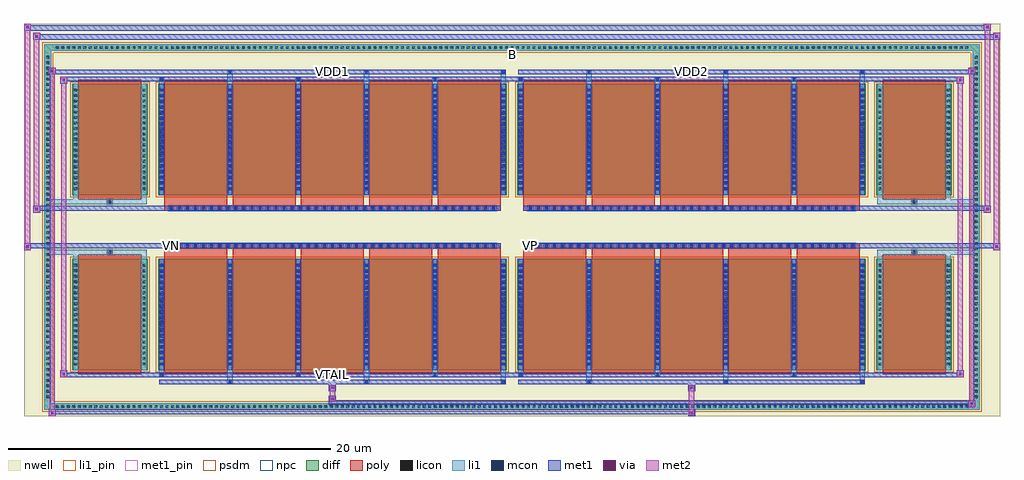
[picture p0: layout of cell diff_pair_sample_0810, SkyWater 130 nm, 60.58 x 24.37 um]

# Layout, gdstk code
import gdstk
lib = gdstk.Library(unit=1e-6, precision=5e-09)
def R(c, l, rs):  # rectangles x0, y0, x1, y1
    for r in rs: c.add(gdstk.rectangle(r[:2], r[2:], *l))
def A(c, l, x, y, w, h, nx, ny, dx, dy):  # array of equal rectangles
    R(c, l, [(x+i*dx, y+j*dy, x+i*dx+w, y+j*dy+h) for i in range(nx) for j in range(ny)])
def P(c, l, *ps):  # polygons
    for p in ps: c.add(gdstk.Polygon(p, *l))
nwell = (64, 20)
diff = (65, 20)
poly = (66, 20)
licon = (66, 44)
li1_pin = (67, 16)
li1 = (67, 20)
mcon = (67, 44)
met1_pin = (68, 16)
met1 = (68, 20)
via = (68, 44)
met2 = (69, 20)
psdm = (94, 20)
npc = (95, 20)

diff_pair_sample_0810 = lib.new_cell('diff_pair_sample_0810')
R(diff_pair_sample_0810, nwell, [(-30.29,-11.75,30.29,12.62), (-27.61,-9.94,-0.01,-0.8), (0.01,-9.94,27.61,-0.8), (-27.61,0.8,-0.01,9.94), (0.01,0.8,27.61,9.94)])
A(diff_pair_sample_0810, diff, -28.425, -11.35, 0.41, 0.41, 167, 2, 0.34, 22.29)
A(diff_pair_sample_0810, diff, -29.02, -10.745, 0.41, 0.41, 1, 63, 0, 0.34)
A(diff_pair_sample_0810, diff, 28.61, -10.745, 0.41, 0.41, 1, 63, 0, 0.34)
R(diff_pair_sample_0810, diff, [(-28.425,-11.35,28.425,-10.94), (-29.02,-10.745,-28.61,10.745), (28.61,-10.745,29.02,10.745), (-27.3,-8.895,-22.61,-1.985), (-21.97,-8.895,-0.32,-1.985), (0.32,-8.895,21.97,-1.985), (22.61,-8.895,27.3,-1.985), (-27.3,1.985,-22.61,8.895), (-21.97,1.985,-0.32,8.895), (0.32,1.985,21.97,8.895), (22.61,1.985,27.3,8.895), (-28.425,10.94,28.425,11.35)])
P(diff_pair_sample_0810, diff, [(29.02,11.35),(-29.02,11.35),(-29.02,-10.94),(-28.61,-10.94),(-28.61,10.94),(28.61,10.94),(28.61,-10.94),(-28.61,-10.94),(-29.02,-10.94),(-29.02,-11.35),(29.02,-11.35)])
A(diff_pair_sample_0810, poly, -21.58, -9.145, 3.91, 7.41, 5, 2, 4.24, 10.88)
A(diff_pair_sample_0810, poly, 0.71, -9.145, 3.91, 7.41, 5, 2, 4.24, 10.88)
A(diff_pair_sample_0810, poly, -21.58, -1.735, 3.91, 0.405, 5, 2, 4.24, 3.065)
A(diff_pair_sample_0810, poly, 0.71, -1.735, 3.91, 0.405, 5, 2, 4.24, 3.065)
A(diff_pair_sample_0810, poly, -21.31, -1.33, 0.33, 0.33, 41, 2, 0.5, 2.33)
A(diff_pair_sample_0810, poly, 0.98, -1.33, 0.33, 0.33, 41, 2, 0.5, 2.33)
R(diff_pair_sample_0810, poly, [(-26.91,-9.145,-23,-1.735), (23,-9.145,26.91,-1.735), (-25.12,-1.735,-24.79,-1.405), (-25.12,-1.735,-24.79,-1.405), (24.79,-1.735,25.12,-1.405), (24.79,-1.735,25.12,-1.405), (-21.58,-1.33,-0.71,-1), (0.71,-1.33,21.58,-1), (-21.58,1,-0.71,1.33), (0.71,1,21.58,1.33), (-25.12,1.405,-24.79,1.735), (-25.12,1.405,-24.79,1.735), (24.79,1.405,25.12,1.735), (24.79,1.405,25.12,1.735), (-26.91,1.735,-23,9.145), (23,1.735,26.91,9.145)])
A(diff_pair_sample_0810, licon, -28.305, -11.23, 0.17, 0.17, 167, 2, 0.34, 22.29)
A(diff_pair_sample_0810, licon, -28.9, -10.625, 0.17, 0.17, 1, 63, 0, 0.34)
A(diff_pair_sample_0810, licon, 28.73, -10.625, 0.17, 0.17, 1, 63, 0, 0.34)
A(diff_pair_sample_0810, licon, -27.16, -8.585, 0.17, 0.17, 1, 19, 0, 0.34)
A(diff_pair_sample_0810, licon, -22.92, -8.585, 0.17, 0.17, 1, 19, 0, 0.34)
A(diff_pair_sample_0810, licon, -21.83, -8.585, 0.17, 0.17, 6, 19, 4.24, 0.34)
A(diff_pair_sample_0810, licon, 0.46, -8.585, 0.17, 0.17, 6, 19, 4.24, 0.34)
A(diff_pair_sample_0810, licon, 22.75, -8.585, 0.17, 0.17, 1, 19, 0, 0.34)
A(diff_pair_sample_0810, licon, 26.99, -8.585, 0.17, 0.17, 1, 19, 0, 0.34)
A(diff_pair_sample_0810, licon, -21.23, -1.25, 0.17, 0.17, 41, 2, 0.5, 2.33)
A(diff_pair_sample_0810, licon, 1.06, -1.25, 0.17, 0.17, 41, 2, 0.5, 2.33)
A(diff_pair_sample_0810, licon, -27.16, 2.295, 0.17, 0.17, 1, 19, 0, 0.34)
A(diff_pair_sample_0810, licon, -22.92, 2.295, 0.17, 0.17, 1, 19, 0, 0.34)
A(diff_pair_sample_0810, licon, -21.83, 2.295, 0.17, 0.17, 6, 19, 4.24, 0.34)
A(diff_pair_sample_0810, licon, 0.46, 2.295, 0.17, 0.17, 6, 19, 4.24, 0.34)
A(diff_pair_sample_0810, licon, 22.75, 2.295, 0.17, 0.17, 1, 19, 0, 0.34)
A(diff_pair_sample_0810, licon, 26.99, 2.295, 0.17, 0.17, 1, 19, 0, 0.34)
R(diff_pair_sample_0810, licon, [(-25.04,-1.655,-24.87,-1.485), (24.87,-1.655,25.04,-1.485), (-25.04,1.485,-24.87,1.655), (24.87,1.485,25.04,1.655)])
R(diff_pair_sample_0810, li1_pin, [(-0.25,10.44,0.25,10.94)])
A(diff_pair_sample_0810, li1, -28.385, -11.31, 0.33, 0.33, 167, 2, 0.34, 22.29)
A(diff_pair_sample_0810, li1, -28.98, -10.705, 0.33, 0.33, 1, 63, 0, 0.34)
A(diff_pair_sample_0810, li1, 28.65, -10.705, 0.33, 0.33, 1, 63, 0, 0.34)
A(diff_pair_sample_0810, li1, -17.67, -9.7, 0.33, 0.805, 3, 2, 8.48, 18.595)
A(diff_pair_sample_0810, li1, -17.59, -9.7, 0.17, 0.17, 3, 2, 8.48, 19.23)
A(diff_pair_sample_0810, li1, 4.62, -9.7, 0.33, 0.805, 3, 2, 8.48, 18.595)
A(diff_pair_sample_0810, li1, 4.7, -9.7, 0.17, 0.17, 3, 2, 8.48, 19.23)
A(diff_pair_sample_0810, li1, -21.91, -9.27, 0.33, 0.375, 3, 2, 8.48, 18.165)
A(diff_pair_sample_0810, li1, -21.83, -9.27, 0.17, 0.17, 3, 2, 8.48, 18.37)
A(diff_pair_sample_0810, li1, 0.38, -9.27, 0.33, 0.375, 3, 2, 8.48, 18.165)
A(diff_pair_sample_0810, li1, 0.46, -9.27, 0.17, 0.17, 3, 2, 8.48, 18.37)
A(diff_pair_sample_0810, li1, -21.91, -8.895, 0.33, 6.91, 6, 2, 4.24, 10.88)
A(diff_pair_sample_0810, li1, 0.38, -8.895, 0.33, 6.91, 6, 2, 4.24, 10.88)
A(diff_pair_sample_0810, li1, -27.24, -8.665, 0.33, 0.33, 1, 19, 0, 0.34)
A(diff_pair_sample_0810, li1, -23, -8.665, 0.33, 0.33, 1, 19, 0, 0.34)
A(diff_pair_sample_0810, li1, -21.91, -8.665, 0.33, 0.33, 6, 19, 4.24, 0.34)
A(diff_pair_sample_0810, li1, 0.38, -8.665, 0.33, 0.33, 6, 19, 4.24, 0.34)
A(diff_pair_sample_0810, li1, 22.67, -8.665, 0.33, 0.33, 1, 19, 0, 0.34)
A(diff_pair_sample_0810, li1, 26.91, -8.665, 0.33, 0.33, 1, 19, 0, 0.34)
A(diff_pair_sample_0810, li1, -21.83, -8.585, 0.17, 0.17, 6, 18, 4.24, 0.36)
A(diff_pair_sample_0810, li1, -21.83, -8.585, 0.17, 6.29, 6, 2, 4.24, 10.88)
A(diff_pair_sample_0810, li1, 0.46, -8.585, 0.17, 0.17, 6, 18, 4.24, 0.36)
A(diff_pair_sample_0810, li1, 0.46, -8.585, 0.17, 6.29, 6, 2, 4.24, 10.88)
A(diff_pair_sample_0810, li1, -21.31, -1.33, 0.33, 0.33, 41, 2, 0.5, 2.33)
A(diff_pair_sample_0810, li1, 0.98, -1.33, 0.33, 0.33, 41, 2, 0.5, 2.33)
A(diff_pair_sample_0810, li1, -27.24, 2.215, 0.33, 0.33, 1, 19, 0, 0.34)
A(diff_pair_sample_0810, li1, -23, 2.215, 0.33, 0.33, 1, 19, 0, 0.34)
A(diff_pair_sample_0810, li1, -21.91, 2.215, 0.33, 0.33, 6, 19, 4.24, 0.34)
A(diff_pair_sample_0810, li1, 0.38, 2.215, 0.33, 0.33, 6, 19, 4.24, 0.34)
A(diff_pair_sample_0810, li1, 22.67, 2.215, 0.33, 0.33, 1, 19, 0, 0.34)
A(diff_pair_sample_0810, li1, 26.91, 2.215, 0.33, 0.33, 1, 19, 0, 0.34)
A(diff_pair_sample_0810, li1, -21.83, 2.295, 0.17, 0.17, 6, 18, 4.24, 0.36)
A(diff_pair_sample_0810, li1, 0.46, 2.295, 0.17, 0.17, 6, 18, 4.24, 0.36)
R(diff_pair_sample_0810, li1, [(-29.02,-11.35,-28.61,-10.94), (-29.02,-11.35,-28.61,-10.94), (-28.61,-11.35,28.61,-10.94), (28.61,-11.35,29.02,-10.94), (28.61,-11.35,29.02,-10.94), (-29.02,-10.94,-28.61,10.94), (28.61,-10.94,29.02,10.94), (-27.24,-8.895,-26.91,-1.985), (-23,-8.895,-22.67,-1.985), (22.67,-8.895,23,-1.985), (26.91,-8.895,27.24,-1.985), (-27.24,-1.985,-26.91,-1.405), (-23,-1.985,-22.67,-1.405), (22.67,-1.985,23,-1.405), (26.91,-1.985,27.24,-1.405), (-29.02,-1.735,-25.12,-1.405), (-27.24,-1.735,-25.12,-1.405), (-25.12,-1.735,-24.79,-1.405), (-24.79,-1.735,-22.67,-1.405), (22.67,-1.735,24.79,-1.405), (24.79,-1.735,25.12,-1.405), (24.79,-1.735,29.02,-1.405), (25.12,-1.735,27.24,-1.405), (-29.02,1.405,-25.12,1.735), (-27.24,1.405,-25.12,1.735), (-27.24,1.405,-26.91,1.985), (-25.12,1.405,-24.79,1.735), (-24.79,1.405,-22.67,1.735), (-23,1.405,-22.67,1.985), (22.67,1.405,24.79,1.735), (22.67,1.405,23,1.985), (24.79,1.405,25.12,1.735), (24.79,1.405,29.02,1.735), (25.12,1.405,27.24,1.735), (26.91,1.405,27.24,1.985), (-27.24,1.985,-26.91,8.895), (-23,1.985,-22.67,8.895), (22.67,1.985,23,8.895), (26.91,1.985,27.24,8.895), (-29.02,10.94,-28.61,11.35), (-29.02,10.94,-28.61,11.35), (-28.61,10.94,28.61,11.35), (28.61,10.94,29.02,11.35), (28.61,10.94,29.02,11.35)])
A(diff_pair_sample_0810, mcon, -17.59, -9.7, 0.17, 0.17, 3, 2, 8.48, 19.23)
A(diff_pair_sample_0810, mcon, 4.7, -9.7, 0.17, 0.17, 3, 2, 8.48, 19.23)
A(diff_pair_sample_0810, mcon, -21.83, -9.27, 0.17, 0.17, 3, 2, 8.48, 18.37)
A(diff_pair_sample_0810, mcon, 0.46, -9.27, 0.17, 0.17, 3, 2, 8.48, 18.37)
A(diff_pair_sample_0810, mcon, -21.83, -8.585, 0.17, 0.17, 6, 18, 4.24, 0.36)
A(diff_pair_sample_0810, mcon, 0.46, -8.585, 0.17, 0.17, 6, 18, 4.24, 0.36)
A(diff_pair_sample_0810, mcon, -21.23, -1.25, 0.17, 0.17, 41, 2, 0.5, 2.33)
A(diff_pair_sample_0810, mcon, 1.06, -1.25, 0.17, 0.17, 41, 2, 0.5, 2.33)
A(diff_pair_sample_0810, mcon, -21.83, 2.295, 0.17, 0.17, 6, 18, 4.24, 0.36)
A(diff_pair_sample_0810, mcon, 0.46, 2.295, 0.17, 0.17, 6, 18, 4.24, 0.36)
R(diff_pair_sample_0810, met1_pin, [(-11.28,-9.31,-11.01,-9.04), (-21.28,-1.29,-21.01,-1.02), (1.01,-1.29,1.28,-1.02), (-11.28,9.49,-11.01,9.76), (11.01,9.49,11.28,9.76)])
A(diff_pair_sample_0810, met1, -17.65, -9.76, 0.29, 0.29, 3, 2, 8.48, 19.23)
A(diff_pair_sample_0810, met1, 4.64, -9.76, 0.29, 0.29, 3, 2, 8.48, 19.23)
A(diff_pair_sample_0810, met1, -21.89, -9.33, 0.29, 0.29, 3, 2, 8.48, 18.37)
A(diff_pair_sample_0810, met1, 0.4, -9.33, 0.29, 0.29, 3, 2, 8.48, 18.37)
A(diff_pair_sample_0810, met1, -21.89, -8.895, 0.29, 6.91, 6, 2, 4.24, 10.88)
A(diff_pair_sample_0810, met1, 0.4, -8.895, 0.29, 6.91, 6, 2, 4.24, 10.88)
A(diff_pair_sample_0810, met1, -21.89, -8.645, 0.29, 0.29, 6, 18, 4.24, 0.36)
A(diff_pair_sample_0810, met1, 0.4, -8.645, 0.29, 0.29, 6, 18, 4.24, 0.36)
A(diff_pair_sample_0810, met1, -21.29, -1.31, 0.29, 0.29, 41, 2, 0.5, 2.33)
A(diff_pair_sample_0810, met1, 1, -1.31, 0.29, 0.29, 41, 2, 0.5, 2.33)
A(diff_pair_sample_0810, met1, -21.89, 2.235, 0.29, 0.29, 6, 18, 4.24, 0.36)
A(diff_pair_sample_0810, met1, 0.4, 2.235, 0.29, 0.29, 6, 18, 4.24, 0.36)
R(diff_pair_sample_0810, met1, [(-28.75,-11.75,-28.32,-11.32), (10.93,-11.75,11.36,-11.32), (-28.75,-11.61,11.36,-11.32), (28.32,-11.18,28.75,-10.75), (-11.36,-11.04,28.75,-10.75), (-11.36,-10.9,-10.93,-10.47), (-11.36,-10.19,-10.93,-9.76), (10.93,-10.19,11.36,-9.76), (-21.89,-9.76,-0.4,-9.47), (0.4,-9.76,21.89,-9.47), (-28.04,-9.33,-27.61,-8.9), (-28.04,-9.33,-21.89,-9.04), (-21.89,-9.33,-0.4,-9.04), (-0.4,-9.33,0.4,-9.04), (0.4,-9.33,21.89,-9.04), (21.89,-9.33,28.04,-9.04), (27.61,-9.33,28.04,-8.9), (-30.29,-1.43,-29.86,-1), (29.86,-1.43,30.29,-1), (-30.29,-1.33,-0.71,-1), (-21.58,-1.33,-0.71,-1), (0.71,-1.33,21.58,-1), (0.71,-1.33,30.29,-1), (-29.72,0.9,-29.29,1.33), (29.29,0.9,29.72,1.33), (-29.72,1,-21.58,1.33), (-21.58,1,-0.71,1.33), (0.71,1,21.58,1.33), (21.58,1,29.72,1.33), (-28.04,8.9,-27.61,9.33), (27.61,8.9,28.04,9.33), (-28.04,9.04,-21.89,9.33), (-21.89,9.04,-0.4,9.33), (-0.4,9.04,0.4,9.33), (0.4,9.04,21.89,9.33), (21.89,9.04,28.04,9.33), (-28.75,9.47,-28.32,9.9), (-28.75,9.47,-21.89,9.76), (-21.89,9.47,-0.4,9.76), (0.4,9.47,21.89,9.76), (21.89,9.47,28.75,9.76), (28.32,9.47,28.75,9.9), (-29.72,11.62,-29.29,12.05), (-29.72,11.62,-27.61,11.95), (-27.61,11.62,27.61,11.95), (27.61,11.62,30.29,11.95), (29.86,11.62,30.29,12.05), (-30.29,12.19,-29.86,12.62), (-30.29,12.19,-27.61,12.52), (-27.61,12.19,27.61,12.52), (27.61,12.19,29.72,12.52), (29.29,12.19,29.72,12.62)])
R(diff_pair_sample_0810, via, [(-28.61,-11.61,-28.46,-11.46), (11.07,-11.61,11.22,-11.46), (28.46,-11.04,28.61,-10.89), (-11.22,-10.76,-11.07,-10.61), (-11.22,-10.05,-11.07,-9.9), (11.07,-10.05,11.22,-9.9), (-27.9,-9.19,-27.75,-9.04), (27.75,-9.19,27.9,-9.04), (-30.15,-1.29,-30,-1.14), (30,-1.29,30.15,-1.14), (-29.58,1.04,-29.43,1.19), (29.43,1.04,29.58,1.19), (-27.9,9.04,-27.75,9.19), (27.75,9.04,27.9,9.19), (-28.61,9.61,-28.46,9.76), (28.46,9.61,28.61,9.76), (-29.58,11.76,-29.43,11.91), (30,11.76,30.15,11.91), (-30.15,12.33,-30,12.48), (29.43,12.33,29.58,12.48)])
R(diff_pair_sample_0810, met2, [(-28.75,-11.75,-28.32,-11.32), (-28.68,-11.75,-28.39,9.9), (-28.39,-11.75,-28.32,-11.32), (-28.7,-11.7,-28.37,-11.37), (10.98,-11.7,11.31,-11.37), (10.98,-11.37,11.31,-10.14), (28.32,-11.18,28.75,-10.75), (28.39,-11.18,28.68,9.9), (28.68,-11.18,28.75,-10.75), (28.37,-11.13,28.7,-10.8), (-11.31,-10.85,-10.98,-10.52), (-11.31,-10.52,-10.98,-10.14), (-11.31,-10.14,-10.98,-9.81), (10.98,-10.14,11.31,-9.81), (-28.04,-9.33,-27.61,-8.9), (-27.97,-9.33,-27.68,9.33), (-27.68,-9.33,-27.61,-8.9), (27.61,-9.33,28.04,-8.9), (27.68,-9.33,27.97,9.33), (27.97,-9.33,28.04,-8.9), (-27.99,-9.28,-27.66,-8.95), (27.66,-9.28,27.99,-8.95), (-30.29,-1.43,-29.86,-1), (-30.24,-1.43,-29.91,12.62), (-29.91,-1.43,-29.86,-1), (29.86,-1.43,30.29,-1), (29.91,-1.43,30.24,12.05), (30.24,-1.43,30.29,-1), (-30.24,-1.38,-29.91,-1.05), (29.91,-1.38,30.24,-1.05), (-29.72,0.9,-29.29,1.33), (-29.67,0.9,-29.34,12.05), (-29.34,0.9,-29.29,1.33), (29.29,0.9,29.72,1.33), (29.34,0.9,29.67,12.62), (29.67,0.9,29.72,1.33), (-29.67,0.95,-29.34,1.28), (29.34,0.95,29.67,1.28), (-28.04,8.9,-27.61,9.33), (-27.68,8.9,-27.61,9.33), (27.61,8.9,28.04,9.33), (27.97,8.9,28.04,9.33), (-27.99,8.95,-27.66,9.28), (27.66,8.95,27.99,9.28), (-28.75,9.47,-28.32,9.9), (-28.39,9.47,-28.32,9.9), (28.32,9.47,28.75,9.9), (28.68,9.47,28.75,9.9), (-28.7,9.52,-28.37,9.85), (28.37,9.52,28.7,9.85), (-29.72,11.62,-29.29,12.05), (-29.34,11.62,-29.29,12.05), (29.86,11.62,30.29,12.05), (30.24,11.62,30.29,12.05), (-29.67,11.67,-29.34,12), (29.91,11.67,30.24,12), (-30.29,12.19,-29.86,12.62), (-29.91,12.19,-29.86,12.62), (29.29,12.19,29.72,12.62), (29.67,12.19,29.72,12.62), (-30.24,12.24,-29.91,12.57), (29.34,12.24,29.67,12.57)])
R(diff_pair_sample_0810, psdm, [(-27.43,-9.025,-22.48,-1.855), (-22.1,-9.025,-0.19,-1.855), (0.19,-9.025,22.1,-1.855), (22.48,-9.025,27.43,-1.855), (-27.43,1.855,-22.48,9.025), (-22.1,1.855,-0.19,9.025), (0.19,1.855,22.1,9.025), (22.48,1.855,27.43,9.025)])
P(diff_pair_sample_0810, psdm, [(29.15,11.48),(-29.15,11.48),(-29.15,-10.81),(-28.48,-10.81),(-28.48,10.81),(28.48,10.81),(28.48,-10.81),(-28.48,-10.81),(-29.15,-10.81),(-29.15,-11.48),(29.15,-11.48)])
A(diff_pair_sample_0810, npc, -21.33, -1.35, 0.37, 0.37, 41, 2, 0.5, 2.33)
A(diff_pair_sample_0810, npc, 0.96, -1.35, 0.37, 0.37, 41, 2, 0.5, 2.33)
R(diff_pair_sample_0810, npc, [(-25.14,-1.755,-24.77,-1.385), (24.77,-1.755,25.14,-1.385), (-21.33,-1.35,-20.46,-0.98), (-21.33,-1.35,-20.46,-0.98), (-20.83,-1.35,-19.96,-0.98), (-20.83,-1.35,-19.96,-0.98), (-20.33,-1.35,-19.46,-0.98), (-20.33,-1.35,-19.46,-0.98), (-19.83,-1.35,-18.96,-0.98), (-19.83,-1.35,-18.96,-0.98), (-19.33,-1.35,-18.46,-0.98), (-19.33,-1.35,-18.46,-0.98), (-18.83,-1.35,-17.96,-0.98), (-18.83,-1.35,-17.96,-0.98), (-18.33,-1.35,-17.46,-0.98), (-18.33,-1.35,-17.46,-0.98), (-17.83,-1.35,-16.96,-0.98), (-17.83,-1.35,-16.96,-0.98), (-17.33,-1.35,-16.46,-0.98), (-17.33,-1.35,-16.46,-0.98), (-16.83,-1.35,-15.96,-0.98), (-16.83,-1.35,-15.96,-0.98), (-16.33,-1.35,-15.46,-0.98), (-16.33,-1.35,-15.46,-0.98), (-15.83,-1.35,-14.96,-0.98), (-15.83,-1.35,-14.96,-0.98), (-15.33,-1.35,-14.46,-0.98), (-15.33,-1.35,-14.46,-0.98), (-14.83,-1.35,-13.96,-0.98), (-14.83,-1.35,-13.96,-0.98), (-14.33,-1.35,-13.46,-0.98), (-14.33,-1.35,-13.46,-0.98), (-13.83,-1.35,-12.96,-0.98), (-13.83,-1.35,-12.96,-0.98), (-13.33,-1.35,-12.46,-0.98), (-13.33,-1.35,-12.46,-0.98), (-12.83,-1.35,-11.96,-0.98), (-12.83,-1.35,-11.96,-0.98), (-12.33,-1.35,-11.46,-0.98), (-12.33,-1.35,-11.46,-0.98), (-11.83,-1.35,-10.96,-0.98), (-11.83,-1.35,-10.96,-0.98), (-11.33,-1.35,-10.46,-0.98), (-11.33,-1.35,-10.46,-0.98), (-10.83,-1.35,-9.96,-0.98), (-10.83,-1.35,-9.96,-0.98), (-10.33,-1.35,-9.46,-0.98), (-10.33,-1.35,-9.46,-0.98), (-9.83,-1.35,-8.96,-0.98), (-9.83,-1.35,-8.96,-0.98), (-9.33,-1.35,-8.46,-0.98), (-9.33,-1.35,-8.46,-0.98), (-8.83,-1.35,-7.96,-0.98), (-8.83,-1.35,-7.96,-0.98), (-8.33,-1.35,-7.46,-0.98), (-8.33,-1.35,-7.46,-0.98), (-7.83,-1.35,-6.96,-0.98), (-7.83,-1.35,-6.96,-0.98), (-7.33,-1.35,-6.46,-0.98), (-7.33,-1.35,-6.46,-0.98), (-6.83,-1.35,-5.96,-0.98), (-6.83,-1.35,-5.96,-0.98), (-6.33,-1.35,-5.46,-0.98), (-6.33,-1.35,-5.46,-0.98), (-5.83,-1.35,-4.96,-0.98), (-5.83,-1.35,-4.96,-0.98), (-5.33,-1.35,-4.46,-0.98), (-5.33,-1.35,-4.46,-0.98), (-4.83,-1.35,-3.96,-0.98), (-4.83,-1.35,-3.96,-0.98), (-4.33,-1.35,-3.46,-0.98), (-4.33,-1.35,-3.46,-0.98), (-3.83,-1.35,-2.96,-0.98), (-3.83,-1.35,-2.96,-0.98), (-3.33,-1.35,-2.46,-0.98), (-3.33,-1.35,-2.46,-0.98), (-2.83,-1.35,-1.96,-0.98), (-2.83,-1.35,-1.96,-0.98), (-2.33,-1.35,-1.46,-0.98), (-2.33,-1.35,-1.46,-0.98), (-1.83,-1.35,-0.96,-0.98), (-1.83,-1.35,-0.96,-0.98), (0.96,-1.35,1.83,-0.98), (0.96,-1.35,1.83,-0.98), (1.46,-1.35,2.33,-0.98), (1.46,-1.35,2.33,-0.98), (1.96,-1.35,2.83,-0.98), (1.96,-1.35,2.83,-0.98), (2.46,-1.35,3.33,-0.98), (2.46,-1.35,3.33,-0.98), (2.96,-1.35,3.83,-0.98), (2.96,-1.35,3.83,-0.98), (3.46,-1.35,4.33,-0.98), (3.46,-1.35,4.33,-0.98), (3.96,-1.35,4.83,-0.98), (3.96,-1.35,4.83,-0.98), (4.46,-1.35,5.33,-0.98), (4.46,-1.35,5.33,-0.98), (4.96,-1.35,5.83,-0.98), (4.96,-1.35,5.83,-0.98), (5.46,-1.35,6.33,-0.98), (5.46,-1.35,6.33,-0.98), (5.96,-1.35,6.83,-0.98), (5.96,-1.35,6.83,-0.98), (6.46,-1.35,7.33,-0.98), (6.46,-1.35,7.33,-0.98), (6.96,-1.35,7.83,-0.98), (6.96,-1.35,7.83,-0.98), (7.46,-1.35,8.33,-0.98), (7.46,-1.35,8.33,-0.98), (7.96,-1.35,8.83,-0.98), (7.96,-1.35,8.83,-0.98), (8.46,-1.35,9.33,-0.98), (8.46,-1.35,9.33,-0.98), (8.96,-1.35,9.83,-0.98), (8.96,-1.35,9.83,-0.98), (9.46,-1.35,10.33,-0.98), (9.46,-1.35,10.33,-0.98), (9.96,-1.35,10.83,-0.98), (9.96,-1.35,10.83,-0.98), (10.46,-1.35,11.33,-0.98), (10.46,-1.35,11.33,-0.98), (10.96,-1.35,11.83,-0.98), (10.96,-1.35,11.83,-0.98), (11.46,-1.35,12.33,-0.98), (11.46,-1.35,12.33,-0.98), (11.96,-1.35,12.83,-0.98), (11.96,-1.35,12.83,-0.98), (12.46,-1.35,13.33,-0.98), (12.46,-1.35,13.33,-0.98), (12.96,-1.35,13.83,-0.98), (12.96,-1.35,13.83,-0.98), (13.46,-1.35,14.33,-0.98), (13.46,-1.35,14.33,-0.98), (13.96,-1.35,14.83,-0.98), (13.96,-1.35,14.83,-0.98), (14.46,-1.35,15.33,-0.98), (14.46,-1.35,15.33,-0.98), (14.96,-1.35,15.83,-0.98), (14.96,-1.35,15.83,-0.98), (15.46,-1.35,16.33,-0.98), (15.46,-1.35,16.33,-0.98), (15.96,-1.35,16.83,-0.98), (15.96,-1.35,16.83,-0.98), (16.46,-1.35,17.33,-0.98), (16.46,-1.35,17.33,-0.98), (16.96,-1.35,17.83,-0.98), (16.96,-1.35,17.83,-0.98), (17.46,-1.35,18.33,-0.98), (17.46,-1.35,18.33,-0.98), (17.96,-1.35,18.83,-0.98), (17.96,-1.35,18.83,-0.98), (18.46,-1.35,19.33,-0.98), (18.46,-1.35,19.33,-0.98), (18.96,-1.35,19.83,-0.98), (18.96,-1.35,19.83,-0.98), (19.46,-1.35,20.33,-0.98), (19.46,-1.35,20.33,-0.98), (19.96,-1.35,20.83,-0.98), (19.96,-1.35,20.83,-0.98), (20.46,-1.35,21.33,-0.98), (20.46,-1.35,21.33,-0.98), (-21.33,0.98,-20.46,1.35), (-21.33,0.98,-20.46,1.35), (-20.83,0.98,-19.96,1.35), (-20.83,0.98,-19.96,1.35), (-20.33,0.98,-19.46,1.35), (-20.33,0.98,-19.46,1.35), (-19.83,0.98,-18.96,1.35), (-19.83,0.98,-18.96,1.35), (-19.33,0.98,-18.46,1.35), (-19.33,0.98,-18.46,1.35), (-18.83,0.98,-17.96,1.35), (-18.83,0.98,-17.96,1.35), (-18.33,0.98,-17.46,1.35), (-18.33,0.98,-17.46,1.35), (-17.83,0.98,-16.96,1.35), (-17.83,0.98,-16.96,1.35), (-17.33,0.98,-16.46,1.35), (-17.33,0.98,-16.46,1.35), (-16.83,0.98,-15.96,1.35), (-16.83,0.98,-15.96,1.35), (-16.33,0.98,-15.46,1.35), (-16.33,0.98,-15.46,1.35), (-15.83,0.98,-14.96,1.35), (-15.83,0.98,-14.96,1.35), (-15.33,0.98,-14.46,1.35), (-15.33,0.98,-14.46,1.35), (-14.83,0.98,-13.96,1.35), (-14.83,0.98,-13.96,1.35), (-14.33,0.98,-13.46,1.35), (-14.33,0.98,-13.46,1.35), (-13.83,0.98,-12.96,1.35), (-13.83,0.98,-12.96,1.35), (-13.33,0.98,-12.46,1.35), (-13.33,0.98,-12.46,1.35), (-12.83,0.98,-11.96,1.35), (-12.83,0.98,-11.96,1.35), (-12.33,0.98,-11.46,1.35), (-12.33,0.98,-11.46,1.35), (-11.83,0.98,-10.96,1.35), (-11.83,0.98,-10.96,1.35), (-11.33,0.98,-10.46,1.35), (-11.33,0.98,-10.46,1.35), (-10.83,0.98,-9.96,1.35), (-10.83,0.98,-9.96,1.35), (-10.33,0.98,-9.46,1.35), (-10.33,0.98,-9.46,1.35), (-9.83,0.98,-8.96,1.35), (-9.83,0.98,-8.96,1.35), (-9.33,0.98,-8.46,1.35), (-9.33,0.98,-8.46,1.35), (-8.83,0.98,-7.96,1.35), (-8.83,0.98,-7.96,1.35), (-8.33,0.98,-7.46,1.35), (-8.33,0.98,-7.46,1.35), (-7.83,0.98,-6.96,1.35), (-7.83,0.98,-6.96,1.35), (-7.33,0.98,-6.46,1.35), (-7.33,0.98,-6.46,1.35), (-6.83,0.98,-5.96,1.35), (-6.83,0.98,-5.96,1.35), (-6.33,0.98,-5.46,1.35), (-6.33,0.98,-5.46,1.35), (-5.83,0.98,-4.96,1.35), (-5.83,0.98,-4.96,1.35), (-5.33,0.98,-4.46,1.35), (-5.33,0.98,-4.46,1.35), (-4.83,0.98,-3.96,1.35), (-4.83,0.98,-3.96,1.35), (-4.33,0.98,-3.46,1.35), (-4.33,0.98,-3.46,1.35), (-3.83,0.98,-2.96,1.35), (-3.83,0.98,-2.96,1.35), (-3.33,0.98,-2.46,1.35), (-3.33,0.98,-2.46,1.35), (-2.83,0.98,-1.96,1.35), (-2.83,0.98,-1.96,1.35), (-2.33,0.98,-1.46,1.35), (-2.33,0.98,-1.46,1.35), (-1.83,0.98,-0.96,1.35), (-1.83,0.98,-0.96,1.35), (0.96,0.98,1.83,1.35), (0.96,0.98,1.83,1.35), (1.46,0.98,2.33,1.35), (1.46,0.98,2.33,1.35), (1.96,0.98,2.83,1.35), (1.96,0.98,2.83,1.35), (2.46,0.98,3.33,1.35), (2.46,0.98,3.33,1.35), (2.96,0.98,3.83,1.35), (2.96,0.98,3.83,1.35), (3.46,0.98,4.33,1.35), (3.46,0.98,4.33,1.35), (3.96,0.98,4.83,1.35), (3.96,0.98,4.83,1.35), (4.46,0.98,5.33,1.35), (4.46,0.98,5.33,1.35), (4.96,0.98,5.83,1.35), (4.96,0.98,5.83,1.35), (5.46,0.98,6.33,1.35), (5.46,0.98,6.33,1.35), (5.96,0.98,6.83,1.35), (5.96,0.98,6.83,1.35), (6.46,0.98,7.33,1.35), (6.46,0.98,7.33,1.35), (6.96,0.98,7.83,1.35), (6.96,0.98,7.83,1.35), (7.46,0.98,8.33,1.35), (7.46,0.98,8.33,1.35), (7.96,0.98,8.83,1.35), (7.96,0.98,8.83,1.35), (8.46,0.98,9.33,1.35), (8.46,0.98,9.33,1.35), (8.96,0.98,9.83,1.35), (8.96,0.98,9.83,1.35), (9.46,0.98,10.33,1.35), (9.46,0.98,10.33,1.35), (9.96,0.98,10.83,1.35), (9.96,0.98,10.83,1.35), (10.46,0.98,11.33,1.35), (10.46,0.98,11.33,1.35), (10.96,0.98,11.83,1.35), (10.96,0.98,11.83,1.35), (11.46,0.98,12.33,1.35), (11.46,0.98,12.33,1.35), (11.96,0.98,12.83,1.35), (11.96,0.98,12.83,1.35), (12.46,0.98,13.33,1.35), (12.46,0.98,13.33,1.35), (12.96,0.98,13.83,1.35), (12.96,0.98,13.83,1.35), (13.46,0.98,14.33,1.35), (13.46,0.98,14.33,1.35), (13.96,0.98,14.83,1.35), (13.96,0.98,14.83,1.35), (14.46,0.98,15.33,1.35), (14.46,0.98,15.33,1.35), (14.96,0.98,15.83,1.35), (14.96,0.98,15.83,1.35), (15.46,0.98,16.33,1.35), (15.46,0.98,16.33,1.35), (15.96,0.98,16.83,1.35), (15.96,0.98,16.83,1.35), (16.46,0.98,17.33,1.35), (16.46,0.98,17.33,1.35), (16.96,0.98,17.83,1.35), (16.96,0.98,17.83,1.35), (17.46,0.98,18.33,1.35), (17.46,0.98,18.33,1.35), (17.96,0.98,18.83,1.35), (17.96,0.98,18.83,1.35), (18.46,0.98,19.33,1.35), (18.46,0.98,19.33,1.35), (18.96,0.98,19.83,1.35), (18.96,0.98,19.83,1.35), (19.46,0.98,20.33,1.35), (19.46,0.98,20.33,1.35), (19.96,0.98,20.83,1.35), (19.96,0.98,20.83,1.35), (20.46,0.98,21.33,1.35), (20.46,0.98,21.33,1.35), (-25.14,1.385,-24.77,1.755), (24.77,1.385,25.14,1.755)])
diff_pair_sample_0810.add(gdstk.Label('VTAIL', (-11.145,-9.175), layer=68, texttype=5))
diff_pair_sample_0810.add(gdstk.Label('VN', (-21.145,-1.155), layer=68, texttype=5))
diff_pair_sample_0810.add(gdstk.Label('VP', (1.145,-1.155), layer=68, texttype=5))
diff_pair_sample_0810.add(gdstk.Label('B', (0,10.69), layer=67, texttype=5))
diff_pair_sample_0810.add(gdstk.Label('VDD2', (11.145,9.625), layer=68, texttype=5))
diff_pair_sample_0810.add(gdstk.Label('VDD1', (-11.145,9.625), layer=68, texttype=5))

lib.write_gds('diff_pair_sample_0810.gds')
